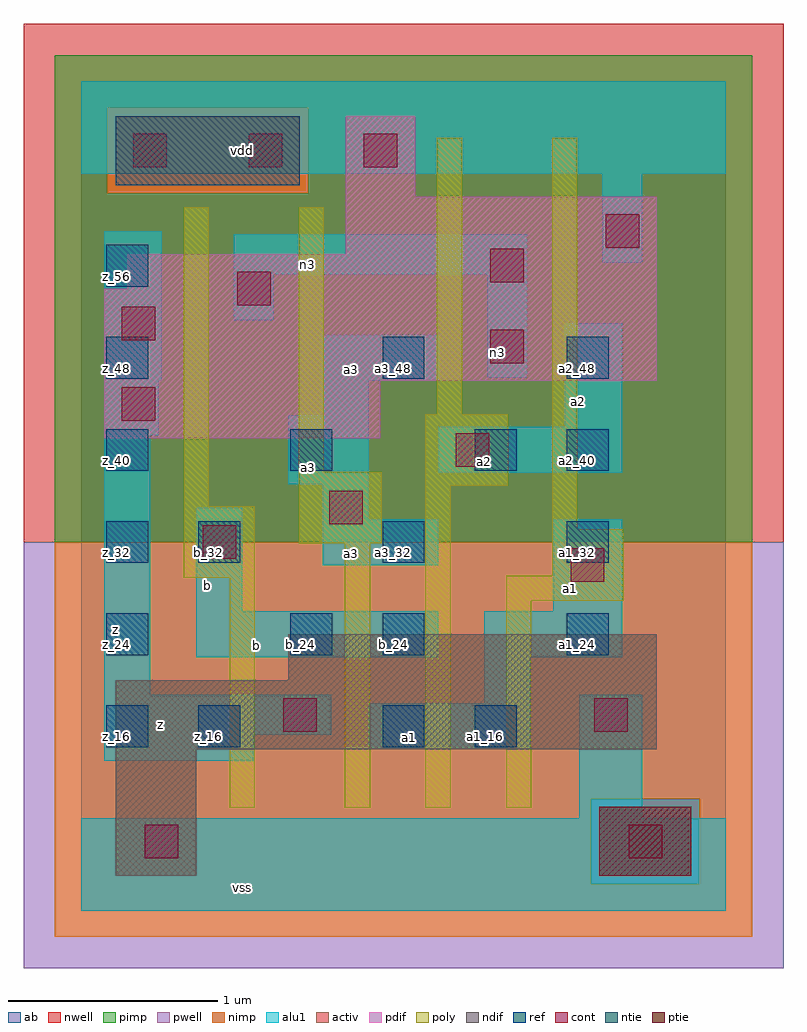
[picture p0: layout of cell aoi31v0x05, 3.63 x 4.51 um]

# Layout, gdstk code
import gdstk
lib = gdstk.Library(unit=1e-6, precision=2.5e-09)
def R(c, l, rs):  # rectangles x0, y0, x1, y1
    for r in rs: c.add(gdstk.rectangle(r[:2], r[2:], *l))
def A(c, l, x, y, w, h, nx, ny, dx, dy):  # array of equal rectangles
    R(c, l, [(x+i*dx, y+j*dy, x+i*dx+w, y+j*dy+h) for i in range(nx) for j in range(ny)])
ndif = (3, 0)
pdif = (4, 0)
ntie = (5, 0)
ptie = (6, 0)
ref = (24, 0)
cont = (25, 0)
pwell = (41, 0)
nwell = (42, 0)
activ = (43, 0)
pimp = (44, 0)
nimp = (45, 0)
poly = (46, 0)
alu1 = (49, 0)
ab = (63, 0)

aoi31v0x05 = lib.new_cell('aoi31v0x05')
R(aoi31v0x05, ndif, [(0.165,0.165,0.55,0.77), (0.165,0.77,2.75,1.1), (0.99,1.1,2.75,1.32)])
R(aoi31v0x05, pdif, [(0.11,2.255,1.43,2.53), (0.11,2.53,2.75,2.97), (0.22,2.97,2.75,3.135), (1.265,3.135,2.75,3.41), (1.265,3.41,1.595,3.795)])
R(aoi31v0x05, ntie, [(0.165,3.465,1.045,3.795)])
R(aoi31v0x05, ptie, [(2.475,0.165,2.915,0.495)])
A(aoi31v0x05, ref, 0.12, 0.78, 0.2, 0.2, 1, 3, 0, 0.44)
A(aoi31v0x05, ref, 0.56, 1.66, 0.2, 0.2, 3, 1, 0.88, 0)
A(aoi31v0x05, ref, 0.12, 2.1, 0.2, 0.2, 3, 1, 0.88, 0)
R(aoi31v0x05, ref, [(0.56,0.78,0.76,0.98), (1.44,0.78,1.64,0.98), (1.88,0.78,2.08,0.98), (1,1.22,1.2,1.42), (1.44,1.22,1.64,1.42), (2.32,1.22,2.52,1.42), (2.32,2.1,2.52,2.3), (0.12,2.54,0.32,2.74), (1.44,2.54,1.64,2.74), (2.32,2.54,2.52,2.74), (0.12,2.98,0.32,3.18)])
A(aoi31v0x05, cont, 0.25, 3.55, 0.16, 0.16, 3, 1, 0.55, 0)
R(aoi31v0x05, cont, [(0.305,0.25,0.465,0.41), (2.615,0.25,2.775,0.41), (0.965,0.855,1.125,1.015), (2.45,0.855,2.61,1.015), (2.34,1.57,2.5,1.73), (0.58,1.68,0.74,1.84), (1.185,1.845,1.345,2.005), (1.79,2.12,1.95,2.28), (0.195,2.34,0.355,2.5), (1.955,2.615,2.115,2.775), (0.195,2.725,0.355,2.885), (0.745,2.89,0.905,3.05), (1.955,3,2.115,3.16), (2.505,3.165,2.665,3.325)])
R(aoi31v0x05, pwell, [(-0.275,-0.275,3.355,1.76)])
R(aoi31v0x05, nwell, [(-0.275,1.76,3.355,4.235)])
R(aoi31v0x05, activ, [(0.165,0.165,0.55,0.77), (2.475,0.165,2.915,0.495), (0.165,0.77,2.75,1.1), (0.99,1.1,2.75,1.32), (0.11,2.255,1.43,2.53), (0.11,2.53,2.75,2.97), (0.22,2.97,2.75,3.135), (1.265,3.135,2.75,3.41), (1.265,3.41,1.595,3.795), (0.165,3.465,1.045,3.795)])
R(aoi31v0x05, pimp, [(2.435,0.125,2.955,0.535), (-0.125,1.76,3.205,3.425), (-0.125,3.425,0.125,3.835), (1.085,3.425,3.205,3.835), (-0.125,3.835,3.205,4.085)])
R(aoi31v0x05, nimp, [(-0.125,-0.125,3.205,0.125), (-0.125,0.125,2.435,0.535), (2.955,0.125,3.205,0.535), (-0.125,0.535,3.205,1.76), (0.125,3.425,1.085,3.835)])
R(aoi31v0x05, poly, [(0.71,0.49,0.83,1.59), (1.26,0.49,1.38,1.755), (1.645,0.49,1.765,2.03), (2.03,0.49,2.15,1.48), (2.03,1.48,2.59,1.6), (0.49,1.59,0.83,1.93), (2.25,1.6,2.59,1.82), (1.04,1.755,1.435,2.095), (2.25,1.82,2.37,3.69), (0.49,1.93,0.61,3.36), (1.645,2.03,2.04,2.37), (1.04,2.095,1.16,3.36), (1.7,2.37,1.82,3.69)])
R(aoi31v0x05, alu1, [(0,0,3.08,0.44), (2.38,0.44,2.68,1.03), (0.11,0.715,0.825,0.84), (1.375,0.77,2.145,0.99), (0.11,0.84,1.195,1.03), (1.925,0.99,2.145,1.21), (0.11,1.03,0.33,2.27), (0.55,1.21,1.705,1.43), (1.925,1.21,2.585,1.43), (0.55,1.43,0.77,1.925), (2.255,1.43,2.585,1.87), (1.155,1.65,1.705,1.87), (1.155,1.87,1.375,2.035), (0.99,2.035,1.375,2.365), (1.705,2.09,2.585,2.31), (0.11,2.27,0.37,2.53), (2.31,2.31,2.585,2.805), (1.155,2.365,1.375,2.53), (0.11,2.53,0.385,3.245), (1.155,2.53,1.705,2.75), (1.94,2.545,2.13,3.04), (0.73,2.82,0.92,3.04), (0.73,3.04,2.13,3.23), (2.49,3.095,2.68,3.52), (0,3.52,3.08,3.96)])
R(aoi31v0x05, ab, [(0,0,3.08,3.96)])
aoi31v0x05.add(gdstk.Label('vss', (0.77,0.11), layer=49, texttype=0))
aoi31v0x05.add(gdstk.Label('a1', (1.5675,0.825), layer=49, texttype=0))
aoi31v0x05.add(gdstk.Label('z', (0.38,0.8875), layer=49, texttype=0))
aoi31v0x05.add(gdstk.Label('b', (0.8375,1.265), layer=49, texttype=0))
aoi31v0x05.add(gdstk.Label('a1', (2.3375,1.54), layer=49, texttype=0))
aoi31v0x05.add(gdstk.Label('a3', (1.2925,1.705), layer=49, texttype=0))
aoi31v0x05.add(gdstk.Label('b', (0.605,1.5525), layer=49, texttype=0))
aoi31v0x05.add(gdstk.Label('a2', (1.925,2.145), layer=49, texttype=0))
aoi31v0x05.add(gdstk.Label('a2', (2.3775,2.4325), layer=49, texttype=0))
aoi31v0x05.add(gdstk.Label('a3', (1.085,2.1175), layer=49, texttype=0))
aoi31v0x05.add(gdstk.Label('z', (0.165,1.34), layer=49, texttype=0))
aoi31v0x05.add(gdstk.Label('n3', (1.9875,2.6675), layer=49, texttype=0))
aoi31v0x05.add(gdstk.Label('a3', (1.2925,2.585), layer=49, texttype=0))
aoi31v0x05.add(gdstk.Label('n3', (1.08,3.0875), layer=49, texttype=0))
aoi31v0x05.add(gdstk.Label('vdd', (0.77,3.63), layer=49, texttype=0))
aoi31v0x05.add(gdstk.Label('z_16', (0.61,0.83), layer=24, texttype=0))
aoi31v0x05.add(gdstk.Label('b_32', (0.61,1.71), layer=24, texttype=0))
aoi31v0x05.add(gdstk.Label('b_24', (1.05,1.27), layer=24, texttype=0))
aoi31v0x05.add(gdstk.Label('a3_40', (1.05,2.15), layer=24, texttype=0))
aoi31v0x05.add(gdstk.Label('a1_16', (1.49,0.83), layer=24, texttype=0))
aoi31v0x05.add(gdstk.Label('b_24', (1.49,1.27), layer=24, texttype=0))
aoi31v0x05.add(gdstk.Label('a3_32', (1.49,1.71), layer=24, texttype=0))
aoi31v0x05.add(gdstk.Label('a3_48', (1.49,2.59), layer=24, texttype=0))
aoi31v0x05.add(gdstk.Label('a1_16', (1.93,0.83), layer=24, texttype=0))
aoi31v0x05.add(gdstk.Label('a2_40', (1.93,2.15), layer=24, texttype=0))
aoi31v0x05.add(gdstk.Label('z_16', (0.17,0.83), layer=24, texttype=0))
aoi31v0x05.add(gdstk.Label('z_24', (0.17,1.27), layer=24, texttype=0))
aoi31v0x05.add(gdstk.Label('z_32', (0.17,1.71), layer=24, texttype=0))
aoi31v0x05.add(gdstk.Label('z_40', (0.17,2.15), layer=24, texttype=0))
aoi31v0x05.add(gdstk.Label('z_48', (0.17,2.59), layer=24, texttype=0))
aoi31v0x05.add(gdstk.Label('z_56', (0.17,3.03), layer=24, texttype=0))
aoi31v0x05.add(gdstk.Label('a1_24', (2.37,1.27), layer=24, texttype=0))
aoi31v0x05.add(gdstk.Label('a1_32', (2.37,1.71), layer=24, texttype=0))
aoi31v0x05.add(gdstk.Label('a2_40', (2.37,2.15), layer=24, texttype=0))
aoi31v0x05.add(gdstk.Label('a2_48', (2.37,2.59), layer=24, texttype=0))

lib.write_gds('aoi31v0x05.gds')
